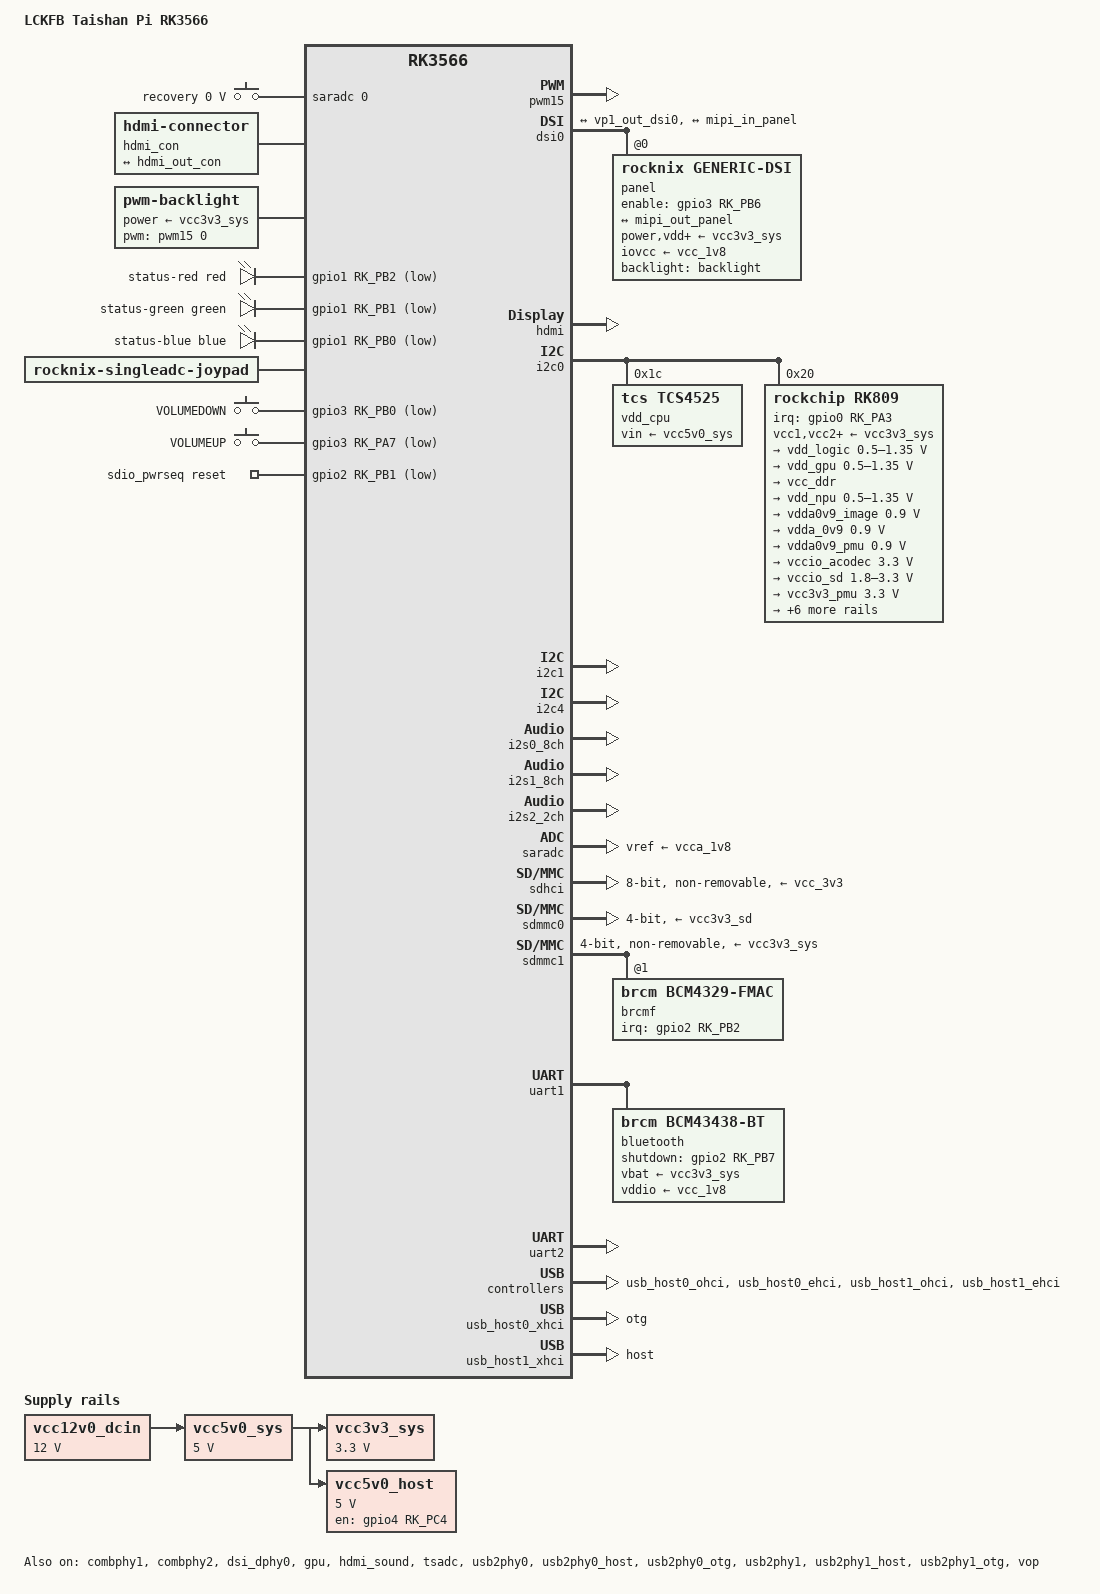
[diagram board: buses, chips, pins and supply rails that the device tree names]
// SPDX-License-Identifier: (GPL-2.0+ OR MIT)

/dts-v1/;

#include <dt-bindings/gpio/gpio.h>
//#include <dt-bindings/input/input.h>
#include <dt-bindings/input/linux-event-codes.h>
#include <dt-bindings/leds/common.h>
#include <dt-bindings/pinctrl/rockchip.h>
#include <dt-bindings/soc/rockchip,vop2.h>
#include <dt-bindings/soc/rockchip,boot-mode.h>
#include "rk3566.dtsi"

/ {
	
	model = "LCKFB Taishan Pi RK3566";
	compatible = "lckfb,tspi-rk3566", "rockchip,rk3566";

	aliases {
		mmc0 = &sdmmc0;
		mmc1 = &sdhci;
		mmc2 = &sdmmc1;
	};

	chosen: chosen {
		stdout-path = "serial2:1500000n8";
	};

	reserved-memory {
		#address-cells = <2>;
		#size-cells = <2>;
		ranges;

		ramoops: ramoops@110000 {
			compatible = "ramoops";
			reg = <0 0x110000 0 0xf0000>;
			console-size = <0x80000>;
			ftrace-size = <0x00000>;
			pmsg-size = <0x50000>;
			record-size = <0x20000>;
		};
	};

	adc_keys: adc-keys {
		compatible = "adc-keys";
		io-channels = <&saradc 0>;
		io-channel-names = "buttons";
		keyup-threshold-microvolt = <1800000>;
		poll-interval = <100>;

		button-recovery {
			label = "recovery";
			linux,code = <KEY_RESTART>;
			press-threshold-microvolt = <108>;
		};
	};

	hdmi_con: hdmi-con {
		compatible = "hdmi-connector";
		type = "d";

		port {
			hdmi_con_in: endpoint {
				remote-endpoint = <&hdmi_out_con>;
			};
		};
	};
		
	backlight: backlight {
		compatible = "pwm-backlight";
        power-supply = <&vcc3v3_sys>;
		pwms = <&pwm15 0 25000 0>;
		brightness-levels = <
			 96  97  98  99 100 101 101 102
			103 104 105 106 107 107 108 109
			110 111 112 113 114 115 115 116
			117 118 119 120 121 122 123 123
			124 125 126 127 128 129 130 130
			131 132 133 134 135 136 136 137
			138 139 140 141 142 143 143 144
			145 146 147 147 148 149 150 151
			152 153 154 155 156 156 157 158
			159 157 158 159 160 161 162 162
			163 164 165 166 167 168 169 169
			170 171 172 173 174 175 175 176
			177 178 179 180 181 182 182 183
			184 185 186 187 188 189 190 190
			191 192 193 194 195 196 197 197
			198 199 200 201 202 203 204 204
			205 206 207 208 209 209 210 211
			212 213 213 214 214 215 215 216
			216 217 217 218 218 219 219 220>;
		default-brightness-level = <200>;
	};

	leds: leds {
		compatible = "gpio-leds";

		rgb_led_r: rgb-led-r {
			color = <LED_COLOR_ID_RED>;
			gpios = <&gpio1 RK_PB2 GPIO_ACTIVE_LOW>;
			label = "status-red";
		};

		rgb_led_g: rgb-led-g {
			gpios = <&gpio1 RK_PB1 GPIO_ACTIVE_LOW>;
			color = <LED_COLOR_ID_GREEN>;
			label = "status-green";
			linux,default-trigger = "timer";
		};

		rgb_led_b: rgb-led-b {
			gpios = <&gpio1 RK_PB0 GPIO_ACTIVE_LOW>;
			color = <LED_COLOR_ID_BLUE>;
			label = "status-blue";
		};
	};
	
	
	joypad: rocknix-singleadc-joypad {
		compatible = "rocknix-singleadc-joypad";
//		compatible = "rocknix-joypad";

		joypad-name = "retrogame_joypad";
		joypad-product = <0x1101>;
		joypad-revision = <0x0100>;
		joypad-vendor = <0x484B>;

		status = "okay";

		/* gpio pincontrol setup */
		pinctrl-names = "default";
		pinctrl-0 = <&btn_pins_ctrl>;

		poll-interval = <10>;

		/* required to invert x/y */
		//invert-absx;
		//invert-absy;

		/* gpio button auto repeat set value : default disable */
		/*
			autorepeat;
		*/
		sw1 {
			gpios = <&gpio3 RK_PA3 GPIO_ACTIVE_LOW>;
			label = "GPIO DPAD-UP";
			linux,code = <BTN_DPAD_UP>;
		};
		sw2 {
			gpios = <&gpio3 RK_PA4 GPIO_ACTIVE_LOW>;
			label = "GPIO DPAD-DOWN";
			linux,code = <BTN_DPAD_DOWN>;
		};
		sw3 {
			gpios = <&gpio3 RK_PA6 GPIO_ACTIVE_LOW>;
			label = "GPIO DPAD-LEFT";
			linux,code = <BTN_DPAD_LEFT>;
		};
		sw4 {
			gpios = <&gpio3 RK_PA5 GPIO_ACTIVE_LOW>;
			label = "GPIO DPAD-RIGHT";
			linux,code = <BTN_DPAD_RIGHT>;
		};
		sw5 {
			gpios = <&gpio3 RK_PC3 GPIO_ACTIVE_LOW>;
			label = "GPIO BTN-B";
			linux,code = <BTN_EAST>;
		};
		sw6 {
			gpios = <&gpio3 RK_PC2 GPIO_ACTIVE_LOW>;
			label = "GPIO KEY BTN-A";
			linux,code = <BTN_SOUTH>;
		};
		sw7 {
			gpios = <&gpio3 RK_PC0 GPIO_ACTIVE_LOW>;
			label = "GPIO BTN-X";
			linux,code = <BTN_NORTH>;
		};
		sw8 {
			gpios = <&gpio3 RK_PC1 GPIO_ACTIVE_LOW>;
			label = "GPIO BTN-Y";
			linux,code = <BTN_WEST>;
		};
		sw9 {
			gpios = <&gpio3 RK_PA1 GPIO_ACTIVE_LOW>;
			label = "GPIO BTN_THUMBL";
			linux,code = <BTN_THUMBL>;
		};
		sw10 {
			gpios = <&gpio3 RK_PA2 GPIO_ACTIVE_LOW>;
			label = "GPIO BTN_THUMBR";
			linux,code = <BTN_THUMBR>;
		};
		sw11 {
			gpios = <&gpio3 RK_PC4 GPIO_ACTIVE_LOW>;
			label = "GPIO BTN_START";
			linux,code = <BTN_START>;
		};
		sw12 {
			gpios = <&gpio3 RK_PB7 GPIO_ACTIVE_LOW>;
			label = "GPIO BTN_SELECT";
			linux,code = <BTN_SELECT>;
		};
		sw13 {
			gpios = <&gpio3 RK_PB1 GPIO_ACTIVE_LOW>;
			label = "GPIO BTN_TL";
			linux,code = <BTN_TL>;
		};
		sw14 {
			gpios = <&gpio3 RK_PB2 GPIO_ACTIVE_LOW>;
			label = "GPIO BTN_TL2";
			linux,code = <BTN_TL2>;
		};
		sw15 {
			gpios = <&gpio3 RK_PB3 GPIO_ACTIVE_LOW>;
			label = "GPIO BTN_TR";
			linux,code = <BTN_TR>;
		};
		sw16 {
			gpios = <&gpio3 RK_PB4 GPIO_ACTIVE_LOW>;
			label = "GPIO BTN_TR2";
			linux,code = <BTN_TR2>;
		};
	};
	
	gpio_keys_vol: gpio-keys-vol {
		compatible = "gpio-keys";
		autorepeat;
		pinctrl-0 = <&btn_pins_vol>;
		pinctrl-names = "default";

		button-vol-down {
			gpios = <&gpio3 RK_PB0 GPIO_ACTIVE_LOW>;
			label = "VOLUMEDOWN";
			linux,code = <KEY_VOLUMEDOWN>;
		};

		button-vol-up {
			gpios = <&gpio3 RK_PA7 GPIO_ACTIVE_LOW>;
			label = "VOLUMEUP";
			linux,code = <KEY_VOLUMEUP>;
		};
	};

	multi_leds: multi-led {
		compatible = "leds-group-multicolor";
		color = <LED_COLOR_ID_RGB>;
		label = "status-rgb";
		function = LED_FUNCTION_INDICATOR;
		leds = <&rgb_led_r>, <&rgb_led_g>, <&rgb_led_b>;
	};

	vcc12v0_dcin: regulator-12v0-dcin {
		compatible = "regulator-fixed";
		regulator-name = "vcc12v0_dcin";
		regulator-always-on;
		regulator-boot-on;
		regulator-min-microvolt = <12000000>;
		regulator-max-microvolt = <12000000>;
	};

	vcc3v3_sys: regulator-3v3-vcc-sys {
		compatible = "regulator-fixed";
		regulator-name = "vcc3v3_sys";
		regulator-always-on;
		regulator-boot-on;
		regulator-min-microvolt = <3300000>;
		regulator-max-microvolt = <3300000>;
		vin-supply = <&vcc5v0_sys>;
	};

	vcc5v0_sys: regulator-5v0-vcc-sys {
		compatible = "regulator-fixed";
		regulator-name = "vcc5v0_sys";
		regulator-always-on;
		regulator-boot-on;
		regulator-min-microvolt = <5000000>;
		regulator-max-microvolt = <5000000>;
		vin-supply = <&vcc12v0_dcin>;
	};

	vcc5v0_host: regulator-5v0-vcc-host {
		compatible = "regulator-fixed";
		enable-active-high;
		gpio = <&gpio4 RK_PC4 GPIO_ACTIVE_HIGH>;
		pinctrl-names = "default";
		pinctrl-0 = <&vcc5v0_host_en>;
		regulator-name = "vcc5v0_host";
		regulator-min-microvolt = <5000000>;
		regulator-max-microvolt = <5000000>;
		vin-supply = <&vcc5v0_sys>;
	};

	sdio_pwrseq: sdio-pwrseq {
		compatible = "mmc-pwrseq-simple";
		clocks = <&rk809 1>;
		clock-names = "ext_clock";
		pinctrl-names = "default";
		pinctrl-0 = <&wifi_enable_h>;
		post-power-on-delay-ms = <200>;
		reset-gpios = <&gpio2 RK_PB1 GPIO_ACTIVE_LOW>;
	};

	sound {
		status = "okay";
		compatible = "simple-audio-card";
		simple-audio-card,format = "i2s";
		simple-audio-card,name = "Analog RK809";
		simple-audio-card,mclk-fs = <256>;

		simple-audio-card,cpu {
			sound-dai = <&i2s1_8ch>;
		};

		simple-audio-card,codec {
			sound-dai = <&rk809>;
		};
	};
};

&combphy1 {
	status = "okay";
};

&combphy2 {
	status = "okay";
};

&cpu0 {
	cpu-supply = <&vdd_cpu>;
};

&cpu1 {
	cpu-supply = <&vdd_cpu>;
};

&cpu2 {
	cpu-supply = <&vdd_cpu>;
};

&cpu3 {
	cpu-supply = <&vdd_cpu>;
};

&dsi_dphy0 {
	status = "okay";
};

&pwm15 {
    status = "okay";
    pinctrl-0 = <&pwm15m0_pins>;
};

&backlight {
    status = "okay";
};

&cru {
	assigned-clocks = <&pmucru CLK_RTC_32K>, <&cru PLL_GPLL>,
			  <&pmucru PLL_PPLL>, <&cru PLL_VPLL>;
	assigned-clock-rates = <32768>, <1200000000>,
			       <200000000>, <292500000>;
};



&dsi0 {
	status = "okay";
	#address-cells = <1>;
	#size-cells = <0>;

	ports {
		dsi0_in: port@0 {
			status = "okay";
			reg = <0>;
			dsi0_in_vp1: endpoint {
				status = "okay";
				remote-endpoint = <&vp1_out_dsi0>;
			};
		};

		dsi0_out: port@1 {
			status = "okay";
			reg = <1>;
			mipi_out_panel: endpoint {
				status = "okay";
				remote-endpoint = <&mipi_in_panel>;
			};
		};
	};

	panel: panel@0 {
		compatible = "rocknix,generic-dsi";
//		compatible = "powkiddy,rgb30-panel";
		reg = <0>;
        backlight = <&backlight>;
        pinctrl-names = "default";
        pinctrl-0 = <&lcd_rst>;
        enable-gpios = <&gpio3 RK_PB6 GPIO_ACTIVE_HIGH>;
        power-supply = <&vcc3v3_sys>;
        vdd-supply = <&vcc3v3_sys>;
        iovcc-supply = <&vcc_1v8>;
		vcc-supply = <&vcc3v3_sys>;
            panel_description =
//            "G size=136,218 delays=20,200,120,100,20 format=rgb888 lanes=4 flags=0xa03",
//            "M clock=73000 horizontal=800,80,10,80 vertical=1280,18,10,23 default=1",
//            "M clock=73000 horizontal=800,80,41,80 vertical=1280,18,139,23",
//            "M clock=73000 horizontal=800,80,40,80 vertical=1280,18,139,23",
//            "M clock=74300 horizontal=800,80,48,80 vertical=1280,18,153,23 default=1",
//            "M clock=73125 horizontal=800,80,48,80 vertical=1280,18,153,23 default=1",

//                "G size=72,128 delays=120,200,20,20,20 format=rgb888 lanes=4 flags=0xa03",
//                "M clock=72328 horizontal=720,146,20,19 vertical=1280,17,4,31 default=1",

                "G size=135,217 delays=20,200,120,100,20 format=rgb888 lanes=4 flags=0xa03",

                "M clock=73125 horizontal=800,80,10,80 vertical=1280,18,10,23 default=1",

			"I seq=27aa",
			"I seq=4802",
			"I seq=b620",
			"I seq=0120",
			"I seq=0200",
			"I seq=0353",
			"I seq=0450",
			"I seq=050a",
			"I seq=0650",
			"I seq=0700",
			"I seq=0812",
			"I seq=090a",
			"I seq=0a17",
			"I seq=0b82",
			"I seq=0c2a",
			"I seq=0d01",
			"I seq=0e80",
			"I seq=0f20",
			"I seq=1020",
			"I seq=1103",
			"I seq=121b",
			"I seq=1303",
			"I seq=1401",
			"I seq=1523",
			"I seq=1640",
			"I seq=1700",
			"I seq=1801",
			"I seq=1923",
			"I seq=1a40",
			"I seq=1b00",
			"I seq=1e46",
			"I seq=5130",
			"I seq=1f10",
			"I seq=2a4d",
            "I seq=11 wait=120",
            "I seq=29 wait=20";

		port {
			mipi_in_panel: endpoint {
				remote-endpoint = <&mipi_out_panel>;
			};
		};		
	};
};

&gpu {
	mali-supply = <&vdd_gpu>;
	status = "okay";
};

&hdmi {
	avdd-0v9-supply = <&vdda0v9_image>;
	avdd-1v8-supply = <&vcca1v8_image>;
	status = "okay";
};

&hdmi_in {
	hdmi_in_vp0: endpoint {
		remote-endpoint = <&vp0_out_hdmi>;
	};
};

&hdmi_out {
	hdmi_out_con: endpoint {
		remote-endpoint = <&hdmi_con_in>;
	};
};

&hdmi_sound {
	status = "okay";
};

&i2c0 {
	status = "okay";

	vdd_cpu: regulator@1c {
		compatible = "tcs,tcs4525";
		reg = <0x1c>;
		fcs,suspend-voltage-selector = <1>;
		regulator-name = "vdd_cpu";
		regulator-always-on;
		regulator-boot-on;
		regulator-min-microvolt = <800000>;
		regulator-max-microvolt = <1150000>;
		regulator-ramp-delay = <2300>;
		vin-supply = <&vcc5v0_sys>;

		regulator-state-mem {
			regulator-off-in-suspend;
		};
	};

	rk809: pmic@20 {
		compatible = "rockchip,rk809";
		reg = <0x20>;
		assigned-clocks = <&cru I2S1_MCLKOUT_TX>;
		assigned-clock-parents = <&cru CLK_I2S1_8CH_TX>;
		#clock-cells = <1>;
		clock-output-names = "rk808-clkout1", "rk808-clkout2";
		clock-names = "mclk";
		clocks = <&cru I2S1_MCLKOUT_TX>;
		interrupt-parent = <&gpio0>;
		interrupts = <RK_PA3 IRQ_TYPE_LEVEL_LOW>;
		pinctrl-names = "default";
		pinctrl-0 = <&pmic_int>, <&i2s1m0_mclk>;
		system-power-controller;
		#sound-dai-cells = <0>;
		wakeup-source;

		vcc1-supply = <&vcc3v3_sys>;
		vcc2-supply = <&vcc3v3_sys>;
		vcc3-supply = <&vcc3v3_sys>;
		vcc4-supply = <&vcc3v3_sys>;
		vcc5-supply = <&vcc3v3_sys>;
		vcc6-supply = <&vcc3v3_sys>;
		vcc7-supply = <&vcc3v3_sys>;
		vcc8-supply = <&vcc3v3_sys>;
		vcc9-supply = <&vcc3v3_sys>;

		regulators {
			vdd_logic: DCDC_REG1 {
				regulator-name = "vdd_logic";
				regulator-always-on;
				regulator-boot-on;
				regulator-min-microvolt = <500000>;
				regulator-max-microvolt = <1350000>;
				regulator-ramp-delay = <6001>;
				regulator-initial-mode = <0x2>;

				regulator-state-mem {
					regulator-off-in-suspend;
				};
			};

			vdd_gpu: DCDC_REG2 {
				regulator-name = "vdd_gpu";
				regulator-always-on;
				regulator-boot-on;
				regulator-min-microvolt = <500000>;
				regulator-max-microvolt = <1350000>;
				regulator-ramp-delay = <6001>;
				regulator-initial-mode = <0x2>;

				regulator-state-mem {
					regulator-off-in-suspend;
				};
			};

			vcc_ddr: DCDC_REG3 {
				regulator-name = "vcc_ddr";
				regulator-always-on;
				regulator-boot-on;
				regulator-initial-mode = <0x2>;

				regulator-state-mem {
					regulator-on-in-suspend;
				};
			};

			vdd_npu: DCDC_REG4 {
				regulator-name = "vdd_npu";
				regulator-always-on;
				regulator-boot-on;
				regulator-min-microvolt = <500000>;
				regulator-max-microvolt = <1350000>;
				regulator-ramp-delay = <6001>;
				regulator-initial-mode = <0x2>;

				regulator-state-mem {
					regulator-off-in-suspend;
				};
			};

			vdda0v9_image: LDO_REG1 {
				regulator-name = "vdda0v9_image";
				regulator-boot-on;
				regulator-always-on;
				regulator-min-microvolt = <900000>;
				regulator-max-microvolt = <900000>;

				regulator-state-mem {
					regulator-off-in-suspend;
				};
			};

			vdda_0v9: LDO_REG2 {
				regulator-name = "vdda_0v9";
				regulator-always-on;
				regulator-boot-on;
				regulator-min-microvolt = <900000>;
				regulator-max-microvolt = <900000>;
				regulator-state-mem {
					regulator-off-in-suspend;
				};
			};

			vdda0v9_pmu: LDO_REG3 {
				regulator-name = "vdda0v9_pmu";
				regulator-always-on;
				regulator-boot-on;
				regulator-min-microvolt = <900000>;
				regulator-max-microvolt = <900000>;

				regulator-state-mem {
					regulator-on-in-suspend;
					regulator-suspend-microvolt = <900000>;
				};
			};

			vccio_acodec: LDO_REG4 {
				regulator-name = "vccio_acodec";
				regulator-always-on;
				regulator-boot-on;
				regulator-min-microvolt = <3300000>;
				regulator-max-microvolt = <3300000>;

				regulator-state-mem {
					regulator-off-in-suspend;
				};
			};

			vccio_sd: LDO_REG5 {
				regulator-name = "vccio_sd";
				regulator-always-on;
				regulator-boot-on;
				regulator-min-microvolt = <1800000>;
				regulator-max-microvolt = <3300000>;

				regulator-state-mem {
					regulator-off-in-suspend;
				};
			};

			vcc3v3_pmu: LDO_REG6 {
				regulator-name = "vcc3v3_pmu";
				regulator-always-on;
				regulator-boot-on;
				regulator-min-microvolt = <3300000>;
				regulator-max-microvolt = <3300000>;

				regulator-state-mem {
					regulator-on-in-suspend;
					regulator-suspend-microvolt = <3300000>;
				};
			};

			vcca_1v8: LDO_REG7 {
				regulator-name = "vcca_1v8";
				regulator-always-on;
				regulator-boot-on;
				regulator-min-microvolt = <1800000>;
				regulator-max-microvolt = <1800000>;

				regulator-state-mem {
					regulator-off-in-suspend;
				};
			};

			vcca1v8_pmu: LDO_REG8 {
				regulator-name = "vcca1v8_pmu";
				regulator-always-on;
				regulator-boot-on;
				regulator-min-microvolt = <1800000>;
				regulator-max-microvolt = <1800000>;

				regulator-state-mem {
					regulator-on-in-suspend;
					regulator-suspend-microvolt = <1800000>;
				};
			};

			vcca1v8_image: LDO_REG9 {
				regulator-name = "vcca1v8_image";
				regulator-always-on;
				regulator-boot-on;
				regulator-min-microvolt = <1800000>;
				regulator-max-microvolt = <1800000>;

				regulator-state-mem {
					regulator-off-in-suspend;
				};
			};

			vcc_1v8: DCDC_REG5 {
				regulator-name = "vcc_1v8";
				regulator-always-on;
				regulator-boot-on;
				regulator-min-microvolt = <1800000>;
				regulator-max-microvolt = <1800000>;

				regulator-state-mem {
					regulator-off-in-suspend;
				};
			};

			vcc_3v3: SWITCH_REG1 {
				regulator-name = "vcc_3v3";
				regulator-always-on;
				regulator-boot-on;

				regulator-state-mem {
					regulator-off-in-suspend;
				};
			};

			vcc3v3_sd: SWITCH_REG2 {
				regulator-name = "vcc3v3_sd";
				regulator-always-on;
				regulator-boot-on;

				regulator-state-mem {
					regulator-off-in-suspend;
				};
			};
		};

		codec {
			rockchip,mic-in-differential;
		};
	};
};

&i2c1 {
	status = "okay";
	/* Touch Screen */
};

&i2c4 {
	pinctrl-names = "default";
	pinctrl-0 = <&i2c4m0_xfer>;
	status = "okay";
	/* Camera */
};

&i2s0_8ch {
	status = "okay";
	/* HDMI */
};

&i2s1_8ch {
	pinctrl-names = "default";
	pinctrl-0 = <&i2s1m0_sclktx &i2s1m0_lrcktx &i2s1m0_sdi0 &i2s1m0_sdo0>;
	rockchip,trcm-sync-tx-only;
	status = "okay";
	/* PMIC */
};

&i2s2_2ch {
	rockchip,trcm-sync-tx-only;
	status = "okay";
	/* AP6212 Bluetooth */
};

&pinctrl {
	gpio-btns {
		btn_pins_ctrl: btn-pins-ctrl {
			rockchip,pins =
				<3 RK_PA3 RK_FUNC_GPIO &pcfg_pull_up>,	//UP
				<3 RK_PA4 RK_FUNC_GPIO &pcfg_pull_up>,	//DOWN
				<3 RK_PA6 RK_FUNC_GPIO &pcfg_pull_up>,	//LEFT
				<3 RK_PA5 RK_FUNC_GPIO &pcfg_pull_up>,	//RIGHT
				<3 RK_PC3 RK_FUNC_GPIO &pcfg_pull_up>,	//B-EAST
				<3 RK_PC2 RK_FUNC_GPIO &pcfg_pull_up>,	//A-SOUTH
				<3 RK_PC0 RK_FUNC_GPIO &pcfg_pull_up>,	//X-NORTH
				<3 RK_PC1 RK_FUNC_GPIO &pcfg_pull_up>,	//Y-WEST
				<3 RK_PA1 RK_FUNC_GPIO &pcfg_pull_up>,	//L3-THUMBL
				<3 RK_PA2 RK_FUNC_GPIO &pcfg_pull_up>,	//R3-THUMBR
				<3 RK_PC4 RK_FUNC_GPIO &pcfg_pull_up>,	//START
				<3 RK_PB7 RK_FUNC_GPIO &pcfg_pull_up>,	//SELECT-ori:MODE
				<3 RK_PB1 RK_FUNC_GPIO &pcfg_pull_up>,	//TL
				<3 RK_PB2 RK_FUNC_GPIO &pcfg_pull_up>,	//TL2
				<3 RK_PB3 RK_FUNC_GPIO &pcfg_pull_up>,	//TR
				<3 RK_PB4 RK_FUNC_GPIO &pcfg_pull_up>;	//TR2
		};

		btn_pins_vol: btn-pins-vol {
			rockchip,pins =
				<3 RK_PB0 RK_FUNC_GPIO &pcfg_pull_up>,
				<3 RK_PA7 RK_FUNC_GPIO &pcfg_pull_up>;
		};
	};

	bt {
		bt_enable_h: bt-enable-h {
			rockchip,pins = <2 RK_PB7 RK_FUNC_GPIO &pcfg_pull_none>;
		};

		bt_host_wake_l: bt-host-wake-l {
			rockchip,pins = <0 RK_PC4 RK_FUNC_GPIO &pcfg_pull_down>;
		};

		bt_wake_l: bt-wake-l {
			rockchip,pins = <0 RK_PC3 RK_FUNC_GPIO &pcfg_pull_none>;
		};
	};
	
	gpio-lcd {
		lcd_rst: lcd-rst {
			rockchip,pins =
				<3 RK_PB6 RK_FUNC_GPIO &pcfg_pull_none>;
		};
	};

	hp-detect {
		hp_det: hp-det {
			rockchip,pins = <4 RK_PC6 RK_FUNC_GPIO &pcfg_pull_up>;
		};
	};

	pmic {
		pmic_int: pmic-int {
			rockchip,pins = <0 RK_PA3 RK_FUNC_GPIO &pcfg_pull_up>;
		};
	};

	sdio-pwrseq {
		wifi_enable_h: wifi-enable-h {
			rockchip,pins = <2 RK_PB1 RK_FUNC_GPIO &pcfg_pull_none>;
		};

		wifi_host_wake_h: wifi-host-wake-l {
			rockchip,pins = <2 RK_PB2 RK_FUNC_GPIO &pcfg_pull_none>;
		};
	};

	usb2 {
		vcc5v0_host_en: vcc5v0-host-en {
			rockchip,pins = <4 RK_PC4 RK_FUNC_GPIO &pcfg_pull_none>;
		};
	};
};

&pmu_io_domains {
	pmuio1-supply = <&vcc3v3_pmu>;
	pmuio2-supply = <&vcc3v3_pmu>;
	vccio1-supply = <&vccio_acodec>;
	vccio2-supply = <&vcc_1v8>;
	vccio3-supply = <&vccio_sd>;
	vccio4-supply = <&vcc_1v8>;
	vccio5-supply = <&vcc_3v3>;
	vccio6-supply = <&vcc_1v8>;
	vccio7-supply = <&vcc_3v3>;
	status = "okay";
};

&pmugrf {
	reboot-mode {
		compatible = "syscon-reboot-mode";
		offset = <0x200>;
		mode-normal = <BOOT_NORMAL>;
		mode-loader = <BOOT_BL_DOWNLOAD>;
		mode-recovery = <BOOT_RECOVERY>;
		mode-bootloader = <BOOT_FASTBOOT>;
	};
};

&saradc {
	vref-supply = <&vcca_1v8>;
	status = "okay";
	/* Channel 0: Recovery Button */
	/* Channel 1: Hardware ID */
};

&sdhci {
	bus-width = <8>;
	max-frequency = <200000000>;
	non-removable;
	pinctrl-names = "default";
	pinctrl-0 = <&emmc_bus8 &emmc_clk &emmc_cmd &emmc_datastrobe &emmc_rstnout>;
	vmmc-supply = <&vcc_3v3>;
	vqmmc-supply = <&vcc_1v8>;
	status = "okay";
};

&sdmmc0 {
	bus-width = <4>;
	cap-mmc-highspeed;
	cap-sd-highspeed;
	disable-wp;
	max-frequency = <150000000>;
	pinctrl-names = "default";
	pinctrl-0 = <&sdmmc0_bus4 &sdmmc0_clk &sdmmc0_cmd &sdmmc0_det>;
	sd-uhs-sdr104;
	vmmc-supply = <&vcc3v3_sd>;
	vqmmc-supply = <&vcc_1v8>;
	status = "okay";
};

&sdmmc1 {
	bus-width = <4>;
	cap-sd-highspeed;
	cap-sdio-irq;
	disable-wp;
	keep-power-in-suspend;
	max-frequency = <150000000>;
	mmc-pwrseq = <&sdio_pwrseq>;
	non-removable;
	pinctrl-names = "default";
	pinctrl-0 = <&sdmmc1_bus4 &sdmmc1_cmd &sdmmc1_clk>;
	sd-uhs-sdr104;
	vmmc-supply = <&vcc3v3_sys>;
	vqmmc-supply = <&vcc_1v8>;
	#address-cells = <1>;
	#size-cells = <0>;
	status = "okay";

	brcmf: wifi@1 {
		compatible = "brcm,bcm4329-fmac";
		reg = <1>;
		interrupt-parent = <&gpio2>;
		interrupts = <RK_PB2 IRQ_TYPE_LEVEL_HIGH>;
		interrupt-names = "host-wake";
		pinctrl-names = "default";
		pinctrl-0 = <&wifi_host_wake_h>;
	};
};


&tsadc {
	rockchip,hw-tshut-mode = <1>;
	rockchip,hw-tshut-polarity = <0>;
	status = "okay";
};

&uart1 {
	pinctrl-names = "default";
	pinctrl-0 = <&uart1m0_xfer &uart1m0_ctsn &uart1m0_rtsn>;
	uart-has-rtscts;
	status = "okay";

	bluetooth: bluetooth {
		compatible = "brcm,bcm43438-bt";
		clocks = <&rk809 1>;
		clock-names = "lpo";
		max-speed = <3000000>;
		pinctrl-names = "default";
		pinctrl-0 = <&bt_host_wake_l &bt_wake_l &bt_enable_h>;
		shutdown-gpios = <&gpio2 RK_PB7 GPIO_ACTIVE_HIGH>;
		vbat-supply = <&vcc3v3_sys>;
		vddio-supply = <&vcc_1v8>;
	};
};

&uart2 {
	pinctrl-names = "default";
	pinctrl-0 = <&uart2m0_xfer>;
	status = "okay";
};

&usb_host0_ohci {
	status = "okay";
};

&usb_host0_ehci {
	status = "okay";
};

&usb_host0_xhci {
	dr_mode = "otg";
	status = "okay";
};

&usb_host1_ohci {
	status = "okay";
};

&usb_host1_ehci {
	status = "okay";
};

&usb_host1_xhci {
	dr_mode = "host";
	status = "okay";
};

&usb2phy0 {
	status = "okay";
};

&usb2phy0_host {
	phy-supply = <&vcc5v0_sys>;
	status = "okay";
};

&usb2phy0_otg {
	phy-supply = <&vcc5v0_sys>;
	status = "okay";
};

&usb2phy1 {
	status = "okay";
};

&usb2phy1_host {
	phy-supply = <&vcc5v0_host>;
	status = "okay";
};

&usb2phy1_otg {
	phy-supply = <&vcc5v0_host>;
	status = "okay";
};

&vop {
    assigned-clocks = <&cru DCLK_VOP0>, <&cru DCLK_VOP1>;
    assigned-clock-parents = <&pmucru PLL_HPLL>, <&cru PLL_VPLL>;
    status = "okay";
};



&vop_mmu {
	status = "okay";
};

&vp0 {
	vp0_out_hdmi: endpoint@ROCKCHIP_VOP2_EP_HDMI0 {
		reg = <ROCKCHIP_VOP2_EP_HDMI0>;
		remote-endpoint = <&hdmi_in_vp0>;
	};
};

&vp1 {
	vp1_out_dsi0: endpoint@ROCKCHIP_VOP2_EP_MIPI0 {
		reg = <ROCKCHIP_VOP2_EP_MIPI0>;
		remote-endpoint = <&dsi0_in_vp1>;
	};
};
